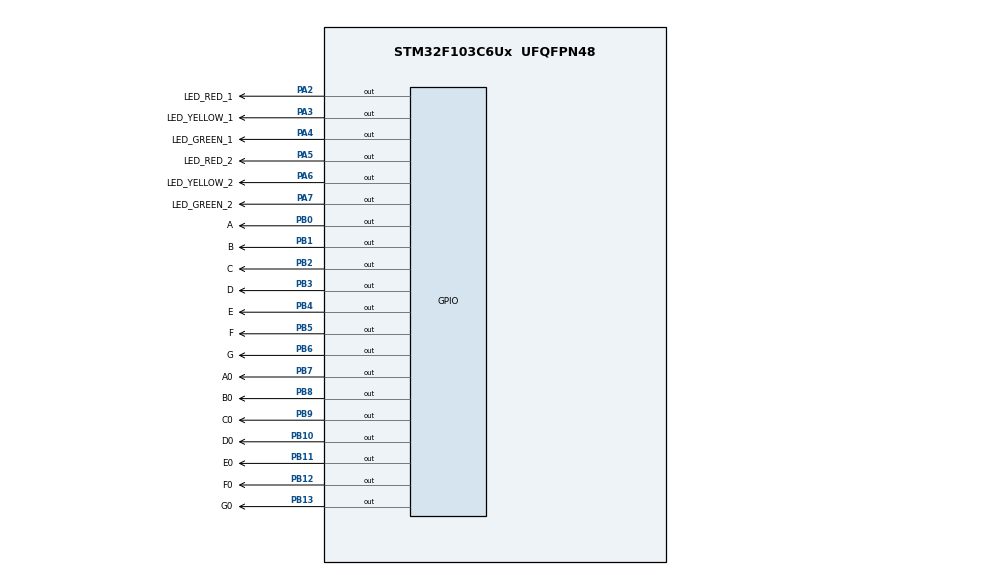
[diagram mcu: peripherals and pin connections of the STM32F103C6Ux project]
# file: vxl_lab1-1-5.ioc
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Mcu.Family=STM32F1
Mcu.Name=STM32F103C6Ux
Mcu.Package=UFQFPN48
NVIC.PriorityGroup=NVIC_PRIORITYGROUP_4
PA2.GPIO_Label=LED_RED_1
PA2.Signal=GPIO_Output
PA3.GPIO_Label=LED_YELLOW_1
PA3.Signal=GPIO_Output
PA4.GPIO_Label=LED_GREEN_1
PA4.Signal=GPIO_Output
PA5.GPIO_Label=LED_RED_2
PA5.Signal=GPIO_Output
PA6.GPIO_Label=LED_YELLOW_2
PA6.Signal=GPIO_Output
PA7.GPIO_Label=LED_GREEN_2
PA7.Signal=GPIO_Output
PB0.GPIO_Label=A
PB0.Signal=GPIO_Output
PB1.GPIO_Label=B
PB1.Signal=GPIO_Output
PB10.GPIO_Label=D0
PB10.Signal=GPIO_Output
PB11.GPIO_Label=E0
PB11.Signal=GPIO_Output
PB12.GPIO_Label=F0
PB12.Signal=GPIO_Output
PB13.GPIO_Label=G0
PB13.Signal=GPIO_Output
PB2.GPIO_Label=C
PB2.Signal=GPIO_Output
PB3.GPIO_Label=D
PB3.Signal=GPIO_Output
PB4.GPIO_Label=E
PB4.Signal=GPIO_Output
PB5.GPIO_Label=F
PB5.Signal=GPIO_Output
PB6.GPIO_Label=G
PB6.Signal=GPIO_Output
PB7.GPIO_Label=A0
PB7.Signal=GPIO_Output
PB8.GPIO_Label=B0
PB8.Signal=GPIO_Output
PB9.GPIO_Label=C0
PB9.Signal=GPIO_Output
ProjectManager.HeapSize=0x200
ProjectManager.StackSize=0x400
ProjectManager.TargetToolchain=STM32CubeIDE
RCC.APB1Freq_Value=8000000
RCC.APB2Freq_Value=8000000
board=custom

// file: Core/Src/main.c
/* USER CODE BEGIN Header */
/**
  ******************************************************************************
  * @file           : main.c
  * @brief          : Main program body
  ******************************************************************************
  * @attention
  *
  * Copyright (c) 2023 STMicroelectronics.
  * All rights reserved.
  *
  * This software is licensed under terms that can be found in the LICENSE file
  * in the root directory of this software component.
  * If no LICENSE file comes with this software, it is provided AS-IS.
  *
  ******************************************************************************
  */
/* USER CODE END Header */
#include "main.h"

/* USER CODE BEGIN Includes */
#include "display.h"
/* USER CODE END Includes */

void SystemClock_Config(void);
static void MX_GPIO_Init(void);

int main(void)
{

  /* MCU Configuration--------------------------------------------------------*/

  /* Reset of all peripherals, Initializes the Flash interface and the Systick. */
  HAL_Init();

  /* Configure the system clock */
  SystemClock_Config();

  /* Initialize all configured peripherals */
  MX_GPIO_Init();

  /* Infinite loop */
  /* USER CODE BEGIN WHILE */
  int count = 0;
  while (1)
  {

    /* USER CODE END WHILE */

    /* USER CODE BEGIN 3 */
	  	  	  count++;
		  if(count <= 5){
			  display7SEG(5-count);
			  HAL_GPIO_WritePin ( LED_RED_1_GPIO_Port , LED_RED_1_Pin , GPIO_PIN_RESET ) ;
			  HAL_GPIO_WritePin ( LED_YELLOW_1_GPIO_Port , LED_YELLOW_1_Pin , GPIO_PIN_SET ) ;
			  HAL_GPIO_WritePin ( LED_GREEN_1_GPIO_Port , LED_GREEN_1_Pin , GPIO_PIN_SET ) ;
			  if(count <= 2){
				  display7SEG0(2-count);
				  HAL_GPIO_WritePin ( LED_RED_2_GPIO_Port , LED_RED_2_Pin , GPIO_PIN_SET ) ;
				  HAL_GPIO_WritePin ( LED_YELLOW_2_GPIO_Port , LED_YELLOW_2_Pin , GPIO_PIN_SET ) ;
				  HAL_GPIO_WritePin ( LED_GREEN_2_GPIO_Port , LED_GREEN_2_Pin , GPIO_PIN_RESET ) ;
			  }
			  else{
				  display7SEG0(5-count);
				  HAL_GPIO_WritePin ( LED_RED_2_GPIO_Port , LED_RED_2_Pin , GPIO_PIN_SET ) ;
				  HAL_GPIO_WritePin ( LED_YELLOW_2_GPIO_Port , LED_YELLOW_2_Pin , GPIO_PIN_RESET ) ;
				  HAL_GPIO_WritePin ( LED_GREEN_2_GPIO_Port , LED_GREEN_2_Pin , GPIO_PIN_SET ) ;
			  }
		  }

		  else if(count <= 7){
			  display7SEG(7-count);
			  HAL_GPIO_WritePin ( LED_RED_1_GPIO_Port , LED_RED_1_Pin , GPIO_PIN_SET ) ;
			  HAL_GPIO_WritePin ( LED_YELLOW_1_GPIO_Port , LED_YELLOW_1_Pin , GPIO_PIN_SET ) ;
			  HAL_GPIO_WritePin ( LED_GREEN_1_GPIO_Port , LED_GREEN_1_Pin , GPIO_PIN_RESET ) ;

			  display7SEG0(10-count);
		      HAL_GPIO_WritePin ( LED_RED_2_GPIO_Port , LED_RED_2_Pin , GPIO_PIN_RESET ) ;
		      HAL_GPIO_WritePin ( LED_YELLOW_2_GPIO_Port , LED_YELLOW_2_Pin , GPIO_PIN_SET ) ;
		      HAL_GPIO_WritePin ( LED_GREEN_2_GPIO_Port , LED_GREEN_2_Pin , GPIO_PIN_SET ) ;
	  	  }

	  	  else if(count <= 10){
	  		  display7SEG(10-count);
	  		  HAL_GPIO_WritePin ( LED_RED_1_GPIO_Port , LED_RED_1_Pin , GPIO_PIN_SET ) ;
	  		  HAL_GPIO_WritePin ( LED_YELLOW_1_GPIO_Port , LED_YELLOW_1_Pin , GPIO_PIN_RESET ) ;
			  HAL_GPIO_WritePin ( LED_GREEN_1_GPIO_Port , LED_GREEN_1_Pin , GPIO_PIN_SET ) ;
			  display7SEG0(10-count);
	  	  }
		  if(count >= 10) count = 0;
	  	  	  HAL_Delay (1000);
  }

  /* USER CODE END 3 */
}

void SystemClock_Config(void)
{
  RCC_OscInitTypeDef RCC_OscInitStruct = {0};
  RCC_ClkInitTypeDef RCC_ClkInitStruct = {0};

  /** Initializes the RCC Oscillators according to the specified parameters
  * in the RCC_OscInitTypeDef structure.
  */
  RCC_OscInitStruct.OscillatorType = RCC_OSCILLATORTYPE_HSI;
  RCC_OscInitStruct.HSIState = RCC_HSI_ON;
  RCC_OscInitStruct.HSICalibrationValue = RCC_HSICALIBRATION_DEFAULT;
  RCC_OscInitStruct.PLL.PLLState = RCC_PLL_NONE;
  if (HAL_RCC_OscConfig(&RCC_OscInitStruct) != HAL_OK)
  {
    Error_Handler();
  }

  /** Initializes the CPU, AHB and APB buses clocks
  */
  RCC_ClkInitStruct.ClockType = RCC_CLOCKTYPE_HCLK|RCC_CLOCKTYPE_SYSCLK
                              |RCC_CLOCKTYPE_PCLK1|RCC_CLOCKTYPE_PCLK2;
  RCC_ClkInitStruct.SYSCLKSource = RCC_SYSCLKSOURCE_HSI;
  RCC_ClkInitStruct.AHBCLKDivider = RCC_SYSCLK_DIV1;
  RCC_ClkInitStruct.APB1CLKDivider = RCC_HCLK_DIV1;
  RCC_ClkInitStruct.APB2CLKDivider = RCC_HCLK_DIV1;

  if (HAL_RCC_ClockConfig(&RCC_ClkInitStruct, FLASH_LATENCY_0) != HAL_OK)
  {
    Error_Handler();
  }
}

static void MX_GPIO_Init(void)
{
  GPIO_InitTypeDef GPIO_InitStruct = {0};

  /* GPIO Ports Clock Enable */
  __HAL_RCC_GPIOA_CLK_ENABLE();
  __HAL_RCC_GPIOB_CLK_ENABLE();

  /*Configure GPIO pin Output Level */
  HAL_GPIO_WritePin(GPIOA, LED_RED_1_Pin|LED_YELLOW_1_Pin|LED_GREEN_1_Pin|LED_RED_2_Pin
                          |LED_YELLOW_2_Pin|LED_GREEN_2_Pin, GPIO_PIN_RESET);

  /*Configure GPIO pin Output Level */
  HAL_GPIO_WritePin(GPIOB, A_Pin|B_Pin|C_Pin|D0_Pin
                          |E0_Pin|F0_Pin|G0_Pin|D_Pin
                          |E_Pin|F_Pin|G_Pin|A0_Pin
                          |B0_Pin|C0_Pin, GPIO_PIN_RESET);

  /*Configure GPIO pins : LED_RED_1_Pin LED_YELLOW_1_Pin LED_GREEN_1_Pin LED_RED_2_Pin
                           LED_YELLOW_2_Pin LED_GREEN_2_Pin */
  GPIO_InitStruct.Pin = LED_RED_1_Pin|LED_YELLOW_1_Pin|LED_GREEN_1_Pin|LED_RED_2_Pin
                          |LED_YELLOW_2_Pin|LED_GREEN_2_Pin;
  GPIO_InitStruct.Mode = GPIO_MODE_OUTPUT_PP;
  GPIO_InitStruct.Pull = GPIO_NOPULL;
  GPIO_InitStruct.Speed = GPIO_SPEED_FREQ_LOW;
  HAL_GPIO_Init(GPIOA, &GPIO_InitStruct);

  /*Configure GPIO pins : A_Pin B_Pin C_Pin D0_Pin
                           E0_Pin F0_Pin G0_Pin D_Pin
                           E_Pin F_Pin G_Pin A0_Pin
                           B0_Pin C0_Pin */
  GPIO_InitStruct.Pin = A_Pin|B_Pin|C_Pin|D0_Pin
                          |E0_Pin|F0_Pin|G0_Pin|D_Pin
                          |E_Pin|F_Pin|G_Pin|A0_Pin
                          |B0_Pin|C0_Pin;
  GPIO_InitStruct.Mode = GPIO_MODE_OUTPUT_PP;
  GPIO_InitStruct.Pull = GPIO_NOPULL;
  GPIO_InitStruct.Speed = GPIO_SPEED_FREQ_LOW;
  HAL_GPIO_Init(GPIOB, &GPIO_InitStruct);

}

void Error_Handler(void)
{
  __disable_irq();
  while (1)
  {
  }
}
